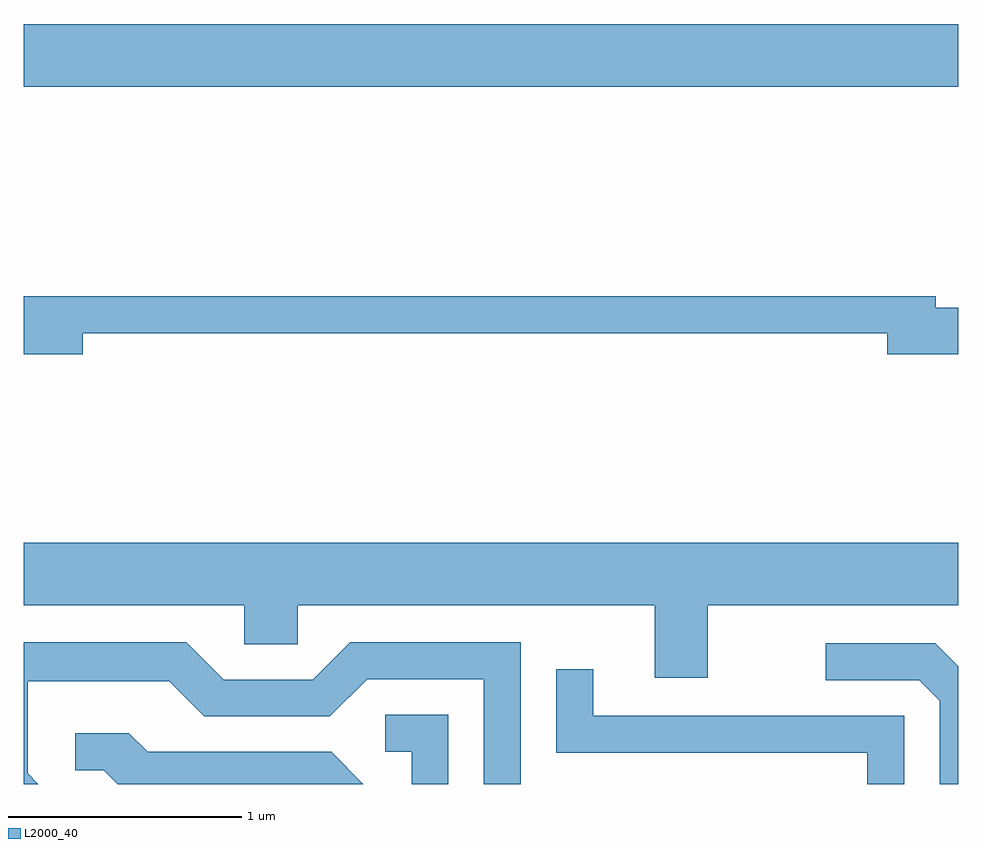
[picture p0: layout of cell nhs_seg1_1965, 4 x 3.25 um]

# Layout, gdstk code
import gdstk
lib = gdstk.Library(unit=1e-6, precision=1e-09)
def R(c, l, rs):  # rectangles x0, y0, x1, y1
    for r in rs: c.add(gdstk.rectangle(r[:2], r[2:], *l))
def P(c, l, *ps):  # polygons
    for p in ps: c.add(gdstk.Polygon(p, *l))
L2000_40 = (2000, 40)

nhs_seg1_1965 = lib.new_cell('nhs_seg1_1965')
R(nhs_seg1_1965, L2000_40, [(245.611,890.696,249.611,890.964)])
P(nhs_seg1_1965, L2000_40, [(245.864,889.641),(249.306,889.641),(249.306,889.551),(249.611,889.551),(249.611,889.749),(249.514,889.749),(249.514,889.799),(245.611,889.799),(245.611,889.551),(245.864,889.551)],
  [(248.539,888.476),(249.611,888.476),(249.611,888.744),(245.611,888.744),(245.611,888.476),(246.556,888.476),(246.556,888.311),(246.784,888.311),(246.784,888.476),(248.311,888.476),(248.311,888.166),(248.539,888.166)],
  [(245.629,887.757),(245.629,888.151),(246.234,888.151),(246.384,888.001),(246.922,888.001),(247.082,888.161),(247.581,888.161),(247.581,887.712),(247.739,887.712),(247.739,888.319),(247.009,888.319),(246.849,888.159),(246.467,888.159),(246.307,888.319),(245.611,888.319),(245.611,887.712),(245.674,887.712)],
  [(249.611,888.215),(249.512,888.314),(249.043,888.314),(249.043,888.156),(249.444,888.156),(249.531,888.069),(249.531,887.712),(249.611,887.712)],
  [(249.379,888.004),(248.049,888.004),(248.049,888.203),(247.891,888.203),(247.891,887.846),(249.221,887.846),(249.221,887.712),(249.379,887.712)],
  [(247.429,888.009),(247.158,888.009),(247.158,887.851),(247.271,887.851),(247.271,887.712),(247.429,887.712)],
  [(246.927,887.849),(246.142,887.849),(246.062,887.929),(245.833,887.929),(245.833,887.771),(245.954,887.771),(246.013,887.712),(247.064,887.712)])

lib.write_gds('nhs_seg1_1965.gds')
